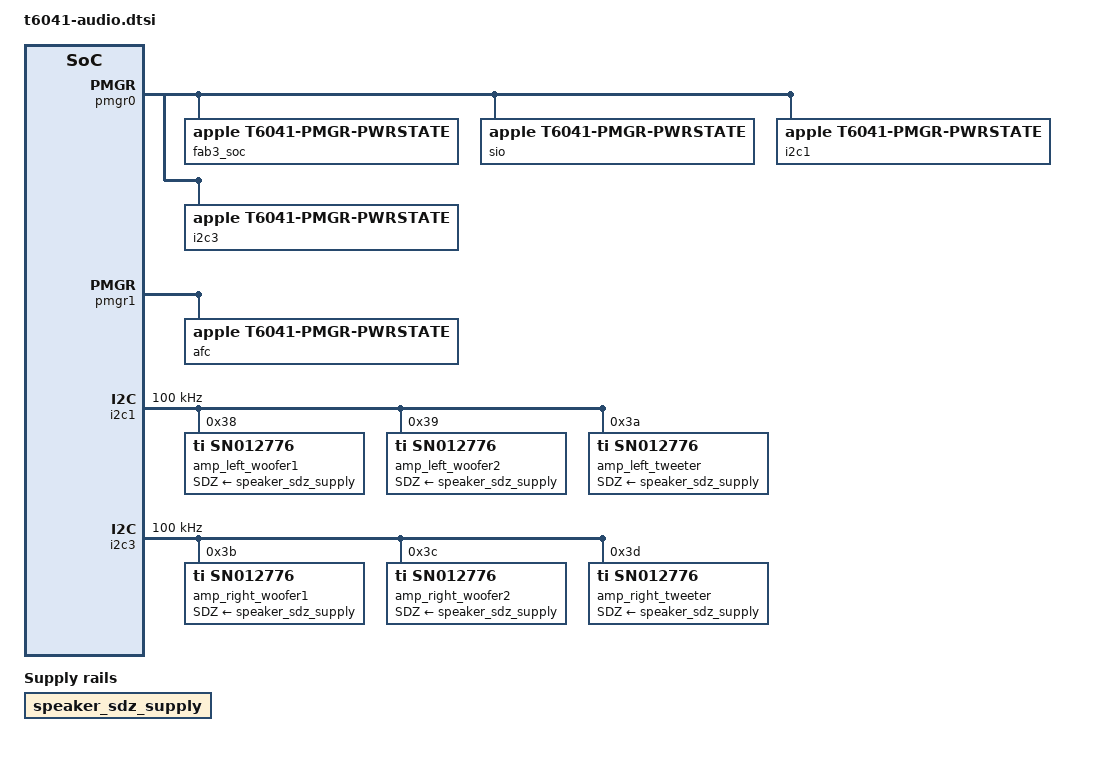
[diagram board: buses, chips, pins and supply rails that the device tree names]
// SPDX-License-Identifier: GPL-2.0+ OR MIT
/* J616 six SN012776 amplifiers, resources and slots from the verified ADT. */
/ {
	speaker_sdz_supply: regulator-speaker-sdz {
		compatible = "regulator-fixed";
		regulator-name = "Speaker SDZ reference";
		/* Common SDZ is owned by the protected machine driver. */
	};
};
&pmgr0 {
	ps_fab3_soc: power-controller@118 {
		compatible = "apple,t6041-pmgr-pwrstate", "apple,t8103-pmgr-pwrstate";
		reg = <0x118 4>; #power-domain-cells = <0>; #reset-cells = <0>;
		label = "fab3_soc"; power-domains = <&ps_afc>;
	};
	ps_sio: power-controller@120 {
		compatible = "apple,t6041-pmgr-pwrstate", "apple,t8103-pmgr-pwrstate";
		reg = <0x120 4>; #power-domain-cells = <0>; #reset-cells = <0>;
		label = "sio"; power-domains = <&ps_fab3_soc>;
	};
	ps_i2c1: power-controller@158 {
		compatible = "apple,t6041-pmgr-pwrstate", "apple,t8103-pmgr-pwrstate";
		reg = <0x158 4>; #power-domain-cells = <0>; #reset-cells = <0>;
		label = "i2c1"; power-domains = <&ps_sio>;
	};
	ps_i2c3: power-controller@168 {
		compatible = "apple,t6041-pmgr-pwrstate", "apple,t8103-pmgr-pwrstate";
		reg = <0x168 4>; #power-domain-cells = <0>; #reset-cells = <0>;
		label = "i2c3"; power-domains = <&ps_sio>;
	};
};
&pmgr1 {
	ps_afc: power-controller@178 {
		compatible = "apple,t6041-pmgr-pwrstate", "apple,t8103-pmgr-pwrstate";
		reg = <0x178 4>; #power-domain-cells = <0>; #reset-cells = <0>;
		label = "afc";
	};
};
&pinctrl_ap {
	i2c1_pins: i2c1-pins { pinmux = <APPLE_PINMUX(58, 1)>, <APPLE_PINMUX(59, 1)>; };
	i2c3_pins: i2c3-pins { pinmux = <APPLE_PINMUX(62, 1)>, <APPLE_PINMUX(63, 1)>; };
};
&{/soc} {
	i2c1: i2c@429014000 {
		compatible = "apple,t6041-i2c", "apple,t8103-i2c";
		reg = <4 0x29014000 0 0x4000>;
		interrupt-parent = <&aic>; interrupts = <AIC_IRQ 1576 IRQ_TYPE_LEVEL_HIGH>;
		clocks = <&clkref>; clock-frequency = <100000>;
		power-domains = <&ps_i2c1>; resets = <&ps_i2c1>;
		pinctrl-0 = <&i2c1_pins>; pinctrl-names = "default";
		#address-cells = <1>; #size-cells = <0>;
		amp_left_woofer1: amplifier@38 {
			compatible = "ti,sn012776", "ti,tas2764";
			reg = <0x38>; #sound-dai-cells = <0>;
			sound-name-prefix = "Left Woofer 1";
			SDZ-supply = <&speaker_sdz_supply>;
			ti,vmon-slot-no = <0>; ti,imon-slot-no = <2>;
		};
		amp_left_woofer2: amplifier@39 {
			compatible = "ti,sn012776", "ti,tas2764";
			reg = <0x39>; #sound-dai-cells = <0>;
			sound-name-prefix = "Left Woofer 2";
			SDZ-supply = <&speaker_sdz_supply>;
			ti,vmon-slot-no = <8>; ti,imon-slot-no = <10>;
		};
		amp_left_tweeter: amplifier@3a {
			compatible = "ti,sn012776", "ti,tas2764";
			reg = <0x3a>; #sound-dai-cells = <0>;
			sound-name-prefix = "Left Tweeter";
			SDZ-supply = <&speaker_sdz_supply>;
			ti,vmon-slot-no = <16>; ti,imon-slot-no = <18>;
		};
	};
	i2c3: i2c@42901c000 {
		compatible = "apple,t6041-i2c", "apple,t8103-i2c";
		reg = <4 0x2901c000 0 0x4000>;
		interrupt-parent = <&aic>; interrupts = <AIC_IRQ 1578 IRQ_TYPE_LEVEL_HIGH>;
		clocks = <&clkref>; clock-frequency = <100000>;
		power-domains = <&ps_i2c3>; resets = <&ps_i2c3>;
		pinctrl-0 = <&i2c3_pins>; pinctrl-names = "default";
		#address-cells = <1>; #size-cells = <0>;
		amp_right_woofer1: amplifier@3b {
			compatible = "ti,sn012776", "ti,tas2764";
			reg = <0x3b>; #sound-dai-cells = <0>;
			sound-name-prefix = "Right Woofer 1";
			SDZ-supply = <&speaker_sdz_supply>;
			ti,vmon-slot-no = <4>; ti,imon-slot-no = <6>;
		};
		amp_right_woofer2: amplifier@3c {
			compatible = "ti,sn012776", "ti,tas2764";
			reg = <0x3c>; #sound-dai-cells = <0>;
			sound-name-prefix = "Right Woofer 2";
			SDZ-supply = <&speaker_sdz_supply>;
			ti,vmon-slot-no = <12>; ti,imon-slot-no = <14>;
		};
		amp_right_tweeter: amplifier@3d {
			compatible = "ti,sn012776", "ti,tas2764";
			reg = <0x3d>; #sound-dai-cells = <0>;
			sound-name-prefix = "Right Tweeter";
			SDZ-supply = <&speaker_sdz_supply>;
			ti,vmon-slot-no = <20>; ti,imon-slot-no = <22>;
		};
	};
};
&aop_audio {
	apple,speaker-codecs = <&amp_left_woofer1>, <&amp_right_woofer1>,
		<&amp_left_woofer2>, <&amp_right_woofer2>, <&amp_left_tweeter>, <&amp_right_tweeter>;
};
